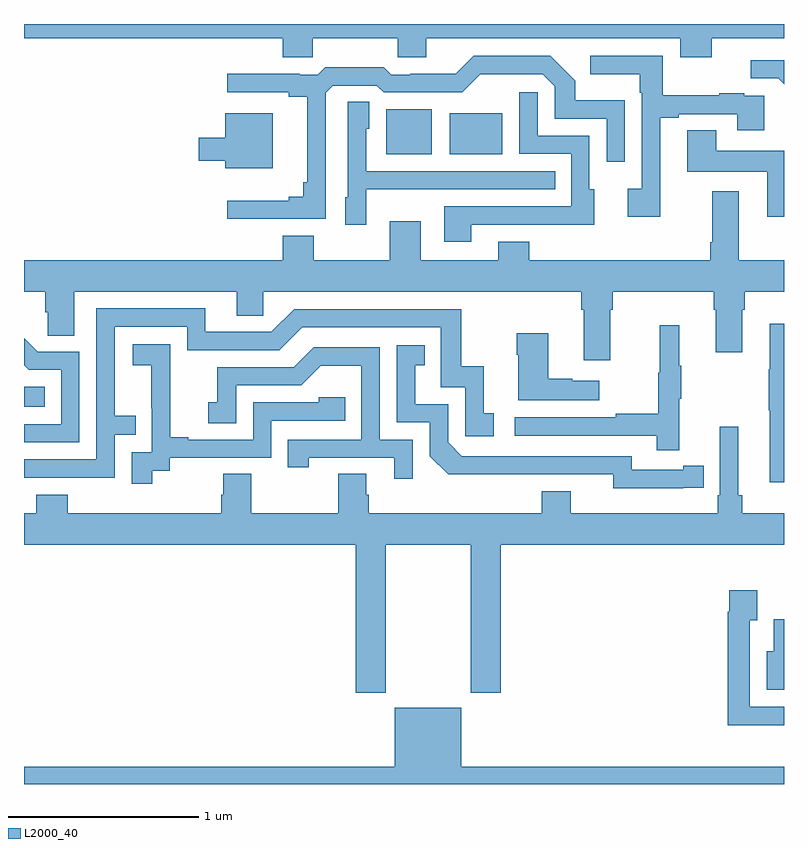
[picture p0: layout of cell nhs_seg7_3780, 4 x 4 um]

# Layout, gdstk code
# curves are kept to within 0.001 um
import gdstk
lib = gdstk.Library(unit=1e-6, precision=1e-09)
def R(c, l, rs):  # rectangles x0, y0, x1, y1
    for r in rs: c.add(gdstk.rectangle(r[:2], r[2:], *l))
def P(c, l, *ps):  # polygons
    for p in ps: c.add(gdstk.Polygon(p, *l))
L2000_40 = (2000, 40)

nhs_seg7_3780 = lib.new_cell('nhs_seg7_3780')
R(nhs_seg7_3780, L2000_40, [(351,1023.986,351.11,1024.09), (352.907,1025.315,353.146,1025.551), (353.24,1025.315,353.518,1025.53)])
P(nhs_seg7_3780, L2000_40, [(354.619,1025.924),(355,1025.924),(355,1026),(351,1026),(351,1025.924),(352.361,1025.924),(352.361,1025.826),(352.521,1025.826),(352.521,1025.924),(352.966,1025.924),(352.966,1025.826),(353.116,1025.826),(353.116,1025.924),(354.455,1025.924),(354.455,1025.825),(354.619,1025.825)],
  [(354.349,1025.507),(354.445,1025.507),(354.445,1025.526),(354.755,1025.526),(354.755,1025.442),(354.895,1025.442),(354.895,1025.622),(354.791,1025.622),(354.791,1025.635),(354.659,1025.635),(354.659,1025.624),(354.361,1025.624),(354.361,1025.832),(353.979,1025.832),(353.979,1025.735),(354.24,1025.735),(354.24,1025.639),(354.252,1025.639),(354.252,1025.134),(354.177,1025.134),(354.177,1024.986),(354.349,1024.986)],
  [(352.587,1025.637),(352.626,1025.676),(352.857,1025.676),(352.893,1025.64),(353.307,1025.64),(353.402,1025.735),(353.73,1025.736),(353.793,1025.673),(353.793,1025.502),(354.066,1025.502),(354.066,1025.274),(354.162,1025.274),(354.162,1025.599),(353.901,1025.599),(353.901,1025.702),(353.77,1025.832),(353.367,1025.832),(353.273,1025.738),(353.032,1025.738),(353.032,1025.733),(352.932,1025.733),(352.893,1025.773),(352.585,1025.773),(352.545,1025.733),(352.451,1025.733),(352.451,1025.738),(352.071,1025.738),(352.071,1025.64),(352.394,1025.64),(352.394,1025.618),(352.49,1025.618),(352.49,1025.167),(352.471,1025.167),(352.471,1025.09),(352.394,1025.09),(352.394,1025.071),(352.071,1025.071),(352.071,1024.974),(352.587,1024.974)],
  [(355,1025.809),(354.825,1025.809),(354.825,1025.715),(354.969,1025.715),(355,1025.684)],
  [(353.353,1024.944),(353.783,1024.944),(353.783,1024.943),(354.001,1024.943),(354.001,1025.13),(353.976,1025.13),(353.976,1025.412),(353.703,1025.412),(353.703,1025.641),(353.607,1025.641),(353.607,1025.316),(353.88,1025.316),(353.88,1025.04),(353.213,1025.04),(353.213,1024.853),(353.353,1024.853)],
  [(352.8,1025.129),(353.117,1025.129),(353.117,1025.13),(353.795,1025.13),(353.795,1025.226),(352.8,1025.226),(352.8,1025.448),(352.816,1025.448),(352.816,1025.591),(352.704,1025.591),(352.704,1025.088),(352.691,1025.088),(352.691,1024.944),(352.8,1024.944)],
  [(352.309,1025.53),(352.058,1025.53),(352.058,1025.401),(351.921,1025.401),(351.921,1025.279),(352.058,1025.279),(352.058,1025.24),(352.309,1025.24)],
  [(355,1025.332),(354.643,1025.332),(354.643,1025.441),(354.491,1025.441),(354.491,1025.222),(354.911,1025.222),(354.911,1024.986),(355,1024.986)],
  [(354.623,1024.852),(354.611,1024.852),(354.611,1024.756),(353.659,1024.756),(353.659,1024.855),(353.495,1024.855),(353.495,1024.756),(353.089,1024.756),(353.089,1024.963),(352.925,1024.963),(352.925,1024.756),(352.525,1024.756),(352.525,1024.885),(352.361,1024.885),(352.361,1024.756),(351,1024.756),(351,1024.592),(351.113,1024.592),(351.113,1024.483),(351.126,1024.483),(351.126,1024.36),(351.265,1024.36),(351.265,1024.592),(352.121,1024.592),(352.121,1024.465),(352.26,1024.465),(352.26,1024.592),(353.933,1024.592),(353.933,1024.496),(353.945,1024.496),(353.945,1024.23),(354.085,1024.23),(354.085,1024.496),(354.098,1024.496),(354.098,1024.592),(354.629,1024.592),(354.629,1024.496),(354.641,1024.496),(354.641,1024.272),(354.781,1024.272),(354.781,1024.496),(354.794,1024.496),(354.794,1024.592),(355,1024.592),(355,1024.756),(354.763,1024.756),(354.763,1025.119),(354.623,1025.119)],
  [(351.477,1023.837),(351.587,1023.837),(351.587,1023.938),(351.477,1023.938),(351.477,1024.407),(351.858,1024.407),(351.858,1024.284),(352.344,1024.284),(352.464,1024.404),(353.193,1024.404),(353.193,1024.089),(353.322,1024.089),(353.322,1023.831),(353.473,1023.831),(353.473,1023.951),(353.42,1023.951),(353.42,1024.198),(353.302,1024.198),(353.302,1024.5),(352.422,1024.5),(352.302,1024.38),(351.955,1024.38),(351.955,1024.503),(351.381,1024.503),(351.381,1023.708),(351,1023.708),(351,1023.612),(351.477,1023.612)],
  [(355,1024.423),(354.926,1024.423),(354.926,1024.184),(354.919,1024.184),(354.919,1023.967),(354.926,1023.967),(354.926,1023.588),(355,1023.588)],
  [(354.449,1024.027),(354.46,1024.027),(354.46,1024.201),(354.449,1024.201),(354.449,1024.414),(354.346,1024.414),(354.346,1024.164),(354.339,1024.164),(354.339,1023.95),(354.115,1023.95),(354.115,1023.93),(353.583,1023.93),(353.583,1023.834),(354.331,1023.834),(354.331,1023.756),(354.449,1023.756)],
  [(354.028,1024.123),(353.885,1024.123),(353.885,1024.133),(353.758,1024.133),(353.758,1024.372),(353.593,1024.372),(353.593,1024.259),(353.6,1024.259),(353.6,1024.019),(354.028,1024.019)],
  [(351.291,1024.275),(351.072,1024.275),(351,1024.347),(351,1024.205),(351.026,1024.179),(351.195,1024.179),(351.195,1023.894),(351,1023.894),(351,1023.798),(351.291,1023.798)],
  [(351.676,1023.649),(351.768,1023.649),(351.768,1023.717),(352.302,1023.717),(352.302,1023.912),(352.691,1023.912),(352.691,1024.035),(352.551,1024.035),(352.551,1024.008),(352.206,1024.008),(352.206,1023.813),(351.865,1023.813),(351.865,1023.826),(351.77,1023.826),(351.77,1024.109),(351.771,1024.109),(351.771,1024.315),(351.573,1024.315),(351.573,1024.205),(351.671,1024.205),(351.671,1023.977),(351.672,1023.977),(351.672,1023.747),(351.567,1023.747),(351.567,1023.579),(351.676,1023.579)],
  [(354.47,1023.558),(354.578,1023.558),(354.578,1023.674),(354.47,1023.674),(354.47,1023.654),(354.198,1023.654),(354.198,1023.726),(353.304,1023.726),(353.232,1023.798),(353.232,1023.999),(353.059,1023.999),(353.059,1024.203),(353.108,1024.203),(353.108,1024.309),(352.962,1024.309),(352.962,1023.903),(353.136,1023.903),(353.136,1023.726),(353.234,1023.629),(354.102,1023.63),(354.102,1023.557)],
  [(353.046,1023.813),(352.872,1023.813),(352.872,1024.299),(352.526,1024.299),(352.421,1024.194),(352.018,1024.194),(352.018,1024.009),(351.969,1024.009),(351.969,1023.9),(352.116,1023.9),(352.116,1024.098),(352.458,1024.098),(352.562,1024.202),(352.776,1024.202),(352.776,1023.813),(352.387,1023.813),(352.387,1023.666),(352.498,1023.666),(352.498,1023.717),(352.949,1023.717),(352.949,1023.606),(353.046,1023.606)],
  [(352.905,1023.26),(353.35,1023.26),(353.35,1022.481),(353.51,1022.481),(353.51,1023.26),(355,1023.26),(355,1023.424),(354.779,1023.424),(354.779,1023.52),(354.76,1023.52),(354.76,1023.88),(354.663,1023.88),(354.663,1023.52),(354.65,1023.52),(354.65,1023.424),(353.878,1023.424),(353.878,1023.541),(353.726,1023.541),(353.726,1023.424),(352.814,1023.424),(352.814,1023.522),(352.801,1023.522),(352.801,1023.632),(352.654,1023.632),(352.654,1023.424),(352.197,1023.424),(352.197,1023.632),(352.049,1023.632),(352.049,1023.522),(352.037,1023.522),(352.037,1023.424),(351.23,1023.424),(351.23,1023.523),(351.065,1023.523),(351.065,1023.424),(351,1023.424),(351,1023.26),(352.745,1023.26),(352.745,1022.481),(352.905,1022.481)],
  [(354.995,1022.31),(355,1022.31),(355,1022.406),(354.819,1022.406),(354.819,1022.863),(354.859,1022.863),(354.859,1023.019),(354.711,1023.019),(354.711,1022.906),(354.703,1022.906),(354.703,1022.309),(354.995,1022.309)],
  [(355,1022.866),(354.947,1022.866),(354.947,1022.698),(354.908,1022.698),(354.908,1022.495),(355,1022.495)],
  [(351,1022),(355,1022),(355,1022.092),(353.302,1022.092),(353.302,1022.401),(352.952,1022.401),(352.952,1022.092),(351,1022.092)])

lib.write_gds('nhs_seg7_3780.gds')
